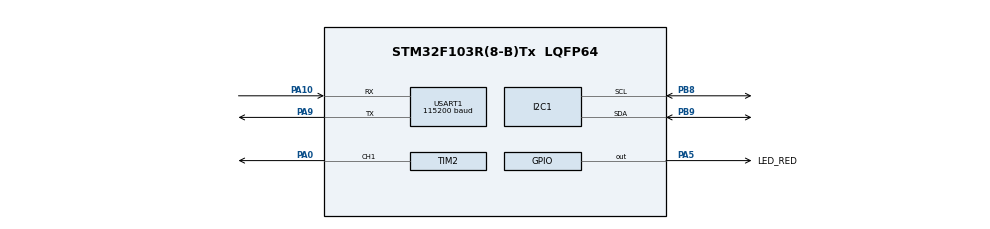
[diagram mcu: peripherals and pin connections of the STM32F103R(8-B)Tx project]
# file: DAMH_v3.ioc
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Dma.Request0=TIM2_CH1
Dma.TIM2_CH1.0.Direction=DMA_MEMORY_TO_PERIPH
Dma.TIM2_CH1.0.Instance=DMA1_Channel5
Dma.TIM2_CH1.0.MemDataAlignment=DMA_MDATAALIGN_HALFWORD
Dma.TIM2_CH1.0.MemInc=DMA_MINC_ENABLE
Dma.TIM2_CH1.0.Mode=DMA_NORMAL
Dma.TIM2_CH1.0.PeriphDataAlignment=DMA_PDATAALIGN_HALFWORD
Dma.TIM2_CH1.0.PeriphInc=DMA_PINC_DISABLE
Dma.TIM2_CH1.0.Priority=DMA_PRIORITY_HIGH
Mcu.Family=STM32F1
Mcu.Name=STM32F103R(8-B)Tx
Mcu.Package=LQFP64
NVIC.DMA1_Channel5_IRQn=true\:0\:0\:false\:false\:true\:false\:true
NVIC.PriorityGroup=NVIC_PRIORITYGROUP_4
NVIC.TIM3_IRQn=true\:0\:0\:false\:false\:true\:true\:true
NVIC.USART1_IRQn=true\:1\:0\:true\:false\:true\:true\:true
PA0-WKUP.Signal=S_TIM2_CH1_ETR
PA10.Mode=Asynchronous
PA10.Signal=USART1_RX
PA13.Mode=Serial_Wire
PA13.Signal=SYS_JTMS-SWDIO
PA14.Mode=Serial_Wire
PA14.Signal=SYS_JTCK-SWCLK
PA5.GPIO_Label=LED_RED
PA5.Signal=GPIO_Output
PA9.Mode=Asynchronous
PA9.Signal=USART1_TX
PB8.Mode=I2C
PB8.Signal=I2C1_SCL
PB9.Mode=I2C
PB9.Signal=I2C1_SDA
ProjectManager.HeapSize=0x200
ProjectManager.StackSize=0x400
ProjectManager.TargetToolchain=STM32CubeIDE
RCC.APB1Freq_Value=8000000
RCC.APB2Freq_Value=8000000
SH.S_TIM2_CH1_ETR.0=TIM2_CH1,PWM Generation1 CH1
TIM2.Channel-PWM\ Generation1\ CH1=TIM_CHANNEL_1
TIM2.Period=10
TIM3.Period=9
TIM3.Prescaler=7999
USART1.BaudRate=115200
USART1.VirtualMode=VM_ASYNC
VP_TIM2_VS_ClockSourceINT.Mode=Internal
VP_TIM3_VS_ClockSourceINT.Mode=Internal
board=custom

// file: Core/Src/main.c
/* USER CODE BEGIN Header */
/**
  ******************************************************************************
  * @file           : main.c
  * @brief          : Main program body
  ******************************************************************************
  * @attention
  *
  * <h2><center>&copy; Copyright (c) 2024 STMicroelectronics.
  * All rights reserved.</center></h2>
  *
  * This software component is licensed by ST under BSD 3-Clause license,
  * the "License"; You may not use this file except in compliance with the
  * License. You may obtain a copy of the License at:
  *                        opensource.org/licenses/BSD-3-Clause
  *
  ******************************************************************************
  */
/* USER CODE END Header */
#include "main.h"

I2C_HandleTypeDef hi2c1;

TIM_HandleTypeDef htim2;
TIM_HandleTypeDef htim3;
DMA_HandleTypeDef hdma_tim2_ch1;

UART_HandleTypeDef huart1;

void SystemClock_Config(void);
static void MX_GPIO_Init(void);
static void MX_I2C1_Init(void);
static void MX_USART1_UART_Init(void);
static void MX_DMA_Init(void);
static void MX_TIM2_Init(void);
static void MX_TIM3_Init(void);
/* USER CODE BEGIN PFP */
void Toggle();
/* USER CODE END PFP */

int main(void)
{

  /* MCU Configuration--------------------------------------------------------*/

  /* Reset of all peripherals, Initializes the Flash interface and the Systick. */
  HAL_Init();

  /* Configure the system clock */
  SystemClock_Config();

  /* Initialize all configured peripherals */
  MX_GPIO_Init();
  MX_I2C1_Init();
  MX_USART1_UART_Init();
  MX_DMA_Init();
  MX_TIM2_Init();
  MX_TIM3_Init();
  /* USER CODE BEGIN 2 */
  lcd_init();
  HAL_Delay(1000);

//    if (DHT20_Init(&hi2c1) != HAL_OK) {
//        lcd_send_string("DHT20 Init Err");
//    }

  SCH_Init();
  SCH_Add_Task(AllTimer, 15, 1);
//  SCH_Add_Task(Toggle, 20, 1000);
  SCH_Add_Task(fsm_main, 20, 400);

  HAL_TIM_Base_Start_IT(&htim3);

  setTimer(0, 100);
  /* USER CODE END 2 */

  /* Infinite loop */
  /* USER CODE BEGIN WHILE */
  while (1)
  {
//	  fsm_main();
//	  HAL_Delay(4000);
	  if(timer_flag[0] == 1){
		  HAL_GPIO_TogglePin(LED_RED_GPIO_Port, LED_RED_Pin);
		  setTimer(0, 100);
	  }
	  SCH_Dispatch_Tasks();
//	  HAL_GPIO_TogglePin(LED_RED_GPIO_Port, LED_RED_Pin);
//	  HAL_Delay(1000);
    /* USER CODE END WHILE */

  }
}

void SystemClock_Config(void)
{
  RCC_OscInitTypeDef RCC_OscInitStruct = {0};
  RCC_ClkInitTypeDef RCC_ClkInitStruct = {0};

  /** Initializes the RCC Oscillators according to the specified parameters
  * in the RCC_OscInitTypeDef structure.
  */
  RCC_OscInitStruct.OscillatorType = RCC_OSCILLATORTYPE_HSI;
  RCC_OscInitStruct.HSIState = RCC_HSI_ON;
  RCC_OscInitStruct.HSICalibrationValue = RCC_HSICALIBRATION_DEFAULT;
  RCC_OscInitStruct.PLL.PLLState = RCC_PLL_NONE;
  if (HAL_RCC_OscConfig(&RCC_OscInitStruct) != HAL_OK)
  {
    Error_Handler();
  }
  /** Initializes the CPU, AHB and APB buses clocks
  */
  RCC_ClkInitStruct.ClockType = RCC_CLOCKTYPE_HCLK|RCC_CLOCKTYPE_SYSCLK
                              |RCC_CLOCKTYPE_PCLK1|RCC_CLOCKTYPE_PCLK2;
  RCC_ClkInitStruct.SYSCLKSource = RCC_SYSCLKSOURCE_HSI;
  RCC_ClkInitStruct.AHBCLKDivider = RCC_SYSCLK_DIV1;
  RCC_ClkInitStruct.APB1CLKDivider = RCC_HCLK_DIV1;
  RCC_ClkInitStruct.APB2CLKDivider = RCC_HCLK_DIV1;

  if (HAL_RCC_ClockConfig(&RCC_ClkInitStruct, FLASH_LATENCY_0) != HAL_OK)
  {
    Error_Handler();
  }
}

static void MX_I2C1_Init(void)
{

  hi2c1.Instance = I2C1;
  hi2c1.Init.ClockSpeed = 100000;
  hi2c1.Init.DutyCycle = I2C_DUTYCYCLE_2;
  hi2c1.Init.OwnAddress1 = 0;
  hi2c1.Init.AddressingMode = I2C_ADDRESSINGMODE_7BIT;
  hi2c1.Init.DualAddressMode = I2C_DUALADDRESS_DISABLE;
  hi2c1.Init.OwnAddress2 = 0;
  hi2c1.Init.GeneralCallMode = I2C_GENERALCALL_DISABLE;
  hi2c1.Init.NoStretchMode = I2C_NOSTRETCH_DISABLE;
  if (HAL_I2C_Init(&hi2c1) != HAL_OK)
  {
    Error_Handler();
  }

}

static void MX_TIM2_Init(void)
{

  TIM_ClockConfigTypeDef sClockSourceConfig = {0};
  TIM_MasterConfigTypeDef sMasterConfig = {0};
  TIM_OC_InitTypeDef sConfigOC = {0};

  htim2.Instance = TIM2;
  htim2.Init.Prescaler = 0;
  htim2.Init.CounterMode = TIM_COUNTERMODE_UP;
  htim2.Init.Period = 10;
  htim2.Init.ClockDivision = TIM_CLOCKDIVISION_DIV1;
  htim2.Init.AutoReloadPreload = TIM_AUTORELOAD_PRELOAD_DISABLE;
  if (HAL_TIM_Base_Init(&htim2) != HAL_OK)
  {
    Error_Handler();
  }
  sClockSourceConfig.ClockSource = TIM_CLOCKSOURCE_INTERNAL;
  if (HAL_TIM_ConfigClockSource(&htim2, &sClockSourceConfig) != HAL_OK)
  {
    Error_Handler();
  }
  if (HAL_TIM_PWM_Init(&htim2) != HAL_OK)
  {
    Error_Handler();
  }
  sMasterConfig.MasterOutputTrigger = TIM_TRGO_RESET;
  sMasterConfig.MasterSlaveMode = TIM_MASTERSLAVEMODE_DISABLE;
  if (HAL_TIMEx_MasterConfigSynchronization(&htim2, &sMasterConfig) != HAL_OK)
  {
    Error_Handler();
  }
  sConfigOC.OCMode = TIM_OCMODE_PWM1;
  sConfigOC.Pulse = 0;
  sConfigOC.OCPolarity = TIM_OCPOLARITY_HIGH;
  sConfigOC.OCFastMode = TIM_OCFAST_DISABLE;
  if (HAL_TIM_PWM_ConfigChannel(&htim2, &sConfigOC, TIM_CHANNEL_1) != HAL_OK)
  {
    Error_Handler();
  }
  HAL_TIM_MspPostInit(&htim2);

}

static void MX_TIM3_Init(void)
{

  TIM_ClockConfigTypeDef sClockSourceConfig = {0};
  TIM_MasterConfigTypeDef sMasterConfig = {0};

  htim3.Instance = TIM3;
  htim3.Init.Prescaler = 7999;
  htim3.Init.CounterMode = TIM_COUNTERMODE_UP;
  htim3.Init.Period = 9;
  htim3.Init.ClockDivision = TIM_CLOCKDIVISION_DIV1;
  htim3.Init.AutoReloadPreload = TIM_AUTORELOAD_PRELOAD_DISABLE;
  if (HAL_TIM_Base_Init(&htim3) != HAL_OK)
  {
    Error_Handler();
  }
  sClockSourceConfig.ClockSource = TIM_CLOCKSOURCE_INTERNAL;
  if (HAL_TIM_ConfigClockSource(&htim3, &sClockSourceConfig) != HAL_OK)
  {
    Error_Handler();
  }
  sMasterConfig.MasterOutputTrigger = TIM_TRGO_RESET;
  sMasterConfig.MasterSlaveMode = TIM_MASTERSLAVEMODE_DISABLE;
  if (HAL_TIMEx_MasterConfigSynchronization(&htim3, &sMasterConfig) != HAL_OK)
  {
    Error_Handler();
  }

}

static void MX_USART1_UART_Init(void)
{

  huart1.Instance = USART1;
  huart1.Init.BaudRate = 115200;
  huart1.Init.WordLength = UART_WORDLENGTH_8B;
  huart1.Init.StopBits = UART_STOPBITS_1;
  huart1.Init.Parity = UART_PARITY_NONE;
  huart1.Init.Mode = UART_MODE_TX_RX;
  huart1.Init.HwFlowCtl = UART_HWCONTROL_NONE;
  huart1.Init.OverSampling = UART_OVERSAMPLING_16;
  if (HAL_UART_Init(&huart1) != HAL_OK)
  {
    Error_Handler();
  }

}

static void MX_DMA_Init(void)
{

  /* DMA controller clock enable */
  __HAL_RCC_DMA1_CLK_ENABLE();

  /* DMA interrupt init */
  /* DMA1_Channel5_IRQn interrupt configuration */
  HAL_NVIC_SetPriority(DMA1_Channel5_IRQn, 0, 0);
  HAL_NVIC_EnableIRQ(DMA1_Channel5_IRQn);

}

static void MX_GPIO_Init(void)
{
  GPIO_InitTypeDef GPIO_InitStruct = {0};

  /* GPIO Ports Clock Enable */
  __HAL_RCC_GPIOA_CLK_ENABLE();
  __HAL_RCC_GPIOB_CLK_ENABLE();

  /*Configure GPIO pin Output Level */
  HAL_GPIO_WritePin(LED_RED_GPIO_Port, LED_RED_Pin, GPIO_PIN_RESET);

  /*Configure GPIO pin : LED_RED_Pin */
  GPIO_InitStruct.Pin = LED_RED_Pin;
  GPIO_InitStruct.Mode = GPIO_MODE_OUTPUT_PP;
  GPIO_InitStruct.Pull = GPIO_NOPULL;
  GPIO_InitStruct.Speed = GPIO_SPEED_FREQ_LOW;
  HAL_GPIO_Init(LED_RED_GPIO_Port, &GPIO_InitStruct);

}

/* USER CODE BEGIN 4 */
void HAL_TIM_PeriodElapsedCallback(TIM_HandleTypeDef *htim){
	SCH_Update();
}
void Toggle(){
	HAL_GPIO_TogglePin(LED_RED_GPIO_Port, LED_RED_Pin);
}
/* USER CODE END 4 */

void Error_Handler(void)
{
  __disable_irq();
  while (1)
  {
  }
}

/************************ (C) COPYRIGHT STMicroelectronics *****END OF FILE****/
